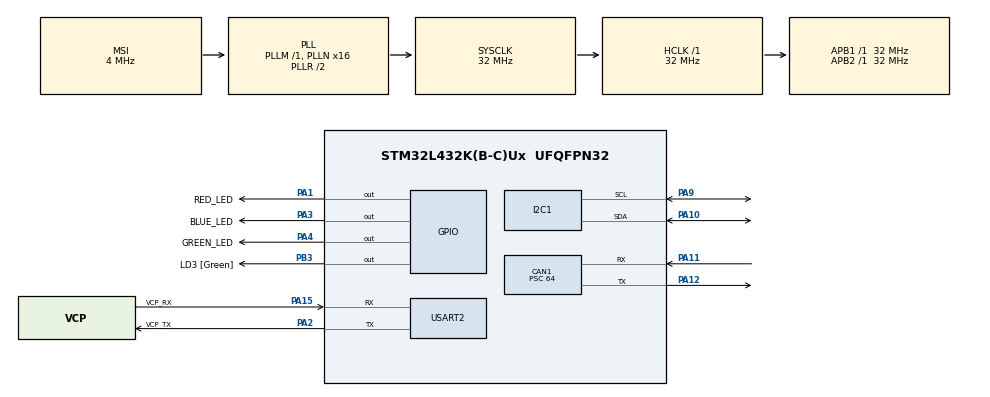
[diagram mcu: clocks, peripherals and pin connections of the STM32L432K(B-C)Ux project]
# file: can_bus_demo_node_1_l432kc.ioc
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CAN1.BS1=CAN_BS1_2TQ
CAN1.BS2=CAN_BS2_2TQ
CAN1.CalculateBaudRate=100000
CAN1.CalculateTimeBit=10000
CAN1.CalculateTimeQuantum=2000.0
CAN1.NART=ENABLE
CAN1.Prescaler=64
I2C1.Timing=0x00707CBB
Mcu.Family=STM32L4
Mcu.Name=STM32L432K(B-C)Ux
Mcu.Package=UFQFPN32
NVIC.CAN1_RX0_IRQn=true\:0\:0\:false\:false\:true\:true\:true\:true
NVIC.PriorityGroup=NVIC_PRIORITYGROUP_4
PA0.GPIO_Label=MCO [High speed clock in]
PA0.Mode=HSE-External-Clock-Source-for-LittleOrca
PA0.Signal=RCC_CK_IN
PA1.GPIO_Label=RED_LED
PA1.Signal=GPIO_Output
PA10.Mode=I2C
PA10.Signal=I2C1_SDA
PA11.Mode=CAN_Activate
PA11.Signal=CAN1_RX
PA12.Mode=CAN_Activate
PA12.Signal=CAN1_TX
PA13\ (JTMS-SWDIO).GPIO_Label=SWDIO
PA13\ (JTMS-SWDIO).Mode=Serial_Wire
PA13\ (JTMS-SWDIO).Signal=SYS_JTMS-SWDIO
PA14\ (JTCK-SWCLK).GPIO_Label=SWCLK
PA14\ (JTCK-SWCLK).Mode=Serial_Wire
PA14\ (JTCK-SWCLK).Signal=SYS_JTCK-SWCLK
PA15\ (JTDI).GPIO_Label=VCP_RX
PA15\ (JTDI).Mode=Asynchronous
PA15\ (JTDI).Signal=USART2_RX
PA2.GPIO_Label=VCP_TX
PA2.Mode=Asynchronous
PA2.Signal=USART2_TX
PA3.GPIO_Label=BLUE_LED
PA3.Signal=GPIO_Output
PA4.GPIO_Label=GREEN_LED
PA4.Signal=GPIO_Output
PA9.Mode=I2C
PA9.Signal=I2C1_SCL
PB3\ (JTDO-TRACESWO).GPIO_Label=LD3 [Green]
PB3\ (JTDO-TRACESWO).Signal=GPIO_Output
PC14-OSC32_IN\ (PC14).Mode=LSE-External-Oscillator
PC14-OSC32_IN\ (PC14).Signal=RCC_OSC32_IN
PC15-OSC32_OUT\ (PC15).Mode=LSE-External-Oscillator
PC15-OSC32_OUT\ (PC15).Signal=RCC_OSC32_OUT
ProjectManager.HeapSize=0x200
ProjectManager.StackSize=0x400
ProjectManager.TargetToolchain=STM32CubeIDE
RCC.AHBFreq_Value=32000000
RCC.APB1Freq_Value=32000000
RCC.APB1TimFreq_Value=32000000
RCC.APB2Freq_Value=32000000
RCC.APB2TimFreq_Value=32000000
RCC.CortexFreq_Value=32000000
RCC.HCLKFreq_Value=32000000
RCC.HSE_VALUE=8000000
RCC.HSI16_VALUE=16000000
RCC.HSI48_VALUE=48000000
RCC.HSI_VALUE=16000000
RCC.MSI_VALUE=4000000
RCC.PLLMUL=RCC_PLLMUL_4
RCC.PLLN=16
RCC.SYSCLKFreq_VALUE=32000000
RCC.SYSCLKSource=RCC_SYSCLKSOURCE_PLLCLK
RCC.VCOOutputFreq_Value=64000000
RTC.Format=RTC_FORMAT_BIN
USART2.VirtualMode-Asynchronous=VM_ASYNC
VP_RTC_VS_RTC_Activate.Mode=RTC_Enabled
VP_RTC_VS_RTC_Calendar.Mode=RTC_Calendar
board=NUCLEO-L432KC

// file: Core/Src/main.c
/* USER CODE BEGIN Header */
/**
 ******************************************************************************
 * @file           : main.c
 * @brief          : Main program body
 ******************************************************************************
 * @attention
 *
 * Copyright (c) 2023 STMicroelectronics.
 * All rights reserved.
 *
 * This software is licensed under terms that can be found in the LICENSE file
 * in the root directory of this software component.
 * If no LICENSE file comes with this software, it is provided AS-IS.
 *
 ******************************************************************************
 */
/* USER CODE END Header */
#include "main.h"
#include "can.h"
#include "i2c.h"
#include "rtc.h"
#include "usart.h"
#include "gpio.h"

/* USER CODE BEGIN Includes */
#include <stdio.h>
#include <stdlib.h>
#include <string.h>
#include "ssd1306.h"
/* USER CODE END Includes */

/* USER CODE BEGIN PD */

#define REFRESH_RATE 1000 // ms
#define CAN_TX_TIMEOUT 100 // ms
#define SET_RTC

/* USER CODE END PD */

/* USER CODE BEGIN PV */
RTC_TimeTypeDef timeNow;
RTC_DateTypeDef dateNow;
uint32_t softTimerOLED;
char lcd_line[32];
const char *day_of_week[] =
{ "Monday", "Tuesday", "Wednesday", "Thursday", "Friday", "Saturday", "Sunday" };

CAN_TxHeaderTypeDef txHeader;
uint8_t txData[8];
uint32_t txMailbox;
uint16_t txTimeoutCounter;

CAN_RxHeaderTypeDef rxHeader;
uint8_t rxData[8];
uint8_t canDatacheckTemperature = 0;
uint8_t canDatacheckPressure = 0;

float bmpPressure, bmpTemperature;
/* USER CODE END PV */

void SystemClock_Config(void);
/* USER CODE BEGIN PFP */
void GetCompilationTime(RTC_TimeTypeDef *timePtr);
void GetCompilationDate(RTC_DateTypeDef *datePtr);
void CalculateDayOfWeek(RTC_DateTypeDef *datePtr);
void SendCanMessage(void);
/* USER CODE END PFP */

int main(void)
{

	/* MCU Configuration--------------------------------------------------------*/

	/* Reset of all peripherals, Initializes the Flash interface and the Systick. */
	HAL_Init();

	/* Configure the system clock */
	SystemClock_Config();

	/* Initialize all configured peripherals */
	MX_GPIO_Init();
	MX_USART2_UART_Init();
	MX_CAN1_Init();
	MX_I2C1_Init();
	MX_RTC_Init();
	/* USER CODE BEGIN 2 */

	ssd1306_Init();
	ssd1306_Fill(Black);
	ssd1306_UpdateScreen();
	HAL_GPIO_WritePin(RED_LED_GPIO_Port, RED_LED_Pin, GPIO_PIN_RESET);

#ifdef SET_RTC
	GetCompilationDate(&dateNow);
	CalculateDayOfWeek(&dateNow);
	HAL_RTC_SetDate(&hrtc, &dateNow, RTC_FORMAT_BIN);
	GetCompilationTime(&timeNow);
	HAL_RTC_SetTime(&hrtc, &timeNow, RTC_FORMAT_BIN);
#endif

	HAL_CAN_Start(&hcan1);

	txHeader.IDE = CAN_ID_STD;
	txHeader.RTR = CAN_RTR_DATA; // https://www.kvaser.com/can-protocol-tutorial/
	txHeader.TransmitGlobalTime = DISABLE;

	HAL_CAN_ActivateNotification(&hcan1, CAN_IT_RX_FIFO0_MSG_PENDING);

	/* USER CODE END 2 */

	/* Infinite loop */
	/* USER CODE BEGIN WHILE */
	softTimerOLED = HAL_GetTick();
	while (1)
	{

		if (1 == canDatacheckTemperature)
		{
			canDatacheckTemperature = 0;
			ssd1306_SetCursor(2, 45);
			sprintf(lcd_line, "RX FIFO0: %.0f deg. C", bmpTemperature);
			ssd1306_WriteString(lcd_line, Font_6x8, White);
			ssd1306_UpdateScreen();
		}

		if (1 == canDatacheckPressure)
		{
			canDatacheckPressure = 0;
			ssd1306_SetCursor(2, 55);
			sprintf(lcd_line, "RX FIFO0: %.0f hPa", bmpPressure);
			ssd1306_WriteString(lcd_line, Font_6x8, White);
			ssd1306_UpdateScreen();
		}

		if ((HAL_GetTick() - softTimerOLED) > REFRESH_RATE)
		{
			softTimerOLED = HAL_GetTick();
			HAL_RTC_GetTime(&hrtc, &timeNow, RTC_FORMAT_BIN);
			HAL_RTC_GetDate(&hrtc, &dateNow, RTC_FORMAT_BIN);

			ssd1306_SetCursor(2, 5);
			sprintf(lcd_line, "TX: %02d:%02d:%02d", timeNow.Hours,
					timeNow.Minutes, timeNow.Seconds);
			ssd1306_WriteString(lcd_line, Font_6x8, White);
			ssd1306_SetCursor(2, 15);
			sprintf(lcd_line, "TX: %02d.%02d.%04d", dateNow.Date, dateNow.Month,
					(2000 + dateNow.Year));
			ssd1306_WriteString(lcd_line, Font_6x8, White);
			ssd1306_SetCursor(2, 25);
			sprintf(lcd_line, "TX: %s", day_of_week[dateNow.WeekDay - 1]);
			ssd1306_WriteString(lcd_line, Font_6x8, White);
			ssd1306_UpdateScreen();

			// Time
			txHeader.DLC = 3;  // data length
			txHeader.StdId = 0x101;  // ID of the message/frame
			txData[0] = timeNow.Hours;
			txData[1] = timeNow.Minutes;
			txData[2] = timeNow.Seconds;
			SendCanMessage();

			// Date
			txHeader.DLC = 4;  // data length
			txHeader.StdId = 0x102;  // ID of the message/frame
			txData[0] = dateNow.Date;
			txData[1] = dateNow.Month;
			txData[2] = dateNow.Year;
			txData[3] = dateNow.WeekDay;
			SendCanMessage();

		}
		/* USER CODE END WHILE */

	}
}

void SystemClock_Config(void)
{
	RCC_OscInitTypeDef RCC_OscInitStruct =
	{ 0 };
	RCC_ClkInitTypeDef RCC_ClkInitStruct =
	{ 0 };

	/** Configure the main internal regulator output voltage
	 */
	if (HAL_PWREx_ControlVoltageScaling(PWR_REGULATOR_VOLTAGE_SCALE1) != HAL_OK)
	{
		Error_Handler();
	}

	/** Configure LSE Drive Capability
	 */
	HAL_PWR_EnableBkUpAccess();
	__HAL_RCC_LSEDRIVE_CONFIG(RCC_LSEDRIVE_LOW);

	/** Initializes the RCC Oscillators according to the specified parameters
	 * in the RCC_OscInitTypeDef structure.
	 */
	RCC_OscInitStruct.OscillatorType = RCC_OSCILLATORTYPE_LSI
			| RCC_OSCILLATORTYPE_LSE | RCC_OSCILLATORTYPE_MSI;
	RCC_OscInitStruct.LSEState = RCC_LSE_ON;
	RCC_OscInitStruct.LSIState = RCC_LSI_ON;
	RCC_OscInitStruct.MSIState = RCC_MSI_ON;
	RCC_OscInitStruct.MSICalibrationValue = 0;
	RCC_OscInitStruct.MSIClockRange = RCC_MSIRANGE_6;
	RCC_OscInitStruct.PLL.PLLState = RCC_PLL_ON;
	RCC_OscInitStruct.PLL.PLLSource = RCC_PLLSOURCE_MSI;
	RCC_OscInitStruct.PLL.PLLM = 1;
	RCC_OscInitStruct.PLL.PLLN = 16;
	RCC_OscInitStruct.PLL.PLLP = RCC_PLLP_DIV7;
	RCC_OscInitStruct.PLL.PLLQ = RCC_PLLQ_DIV2;
	RCC_OscInitStruct.PLL.PLLR = RCC_PLLR_DIV2;
	if (HAL_RCC_OscConfig(&RCC_OscInitStruct) != HAL_OK)
	{
		Error_Handler();
	}

	/** Initializes the CPU, AHB and APB buses clocks
	 */
	RCC_ClkInitStruct.ClockType = RCC_CLOCKTYPE_HCLK | RCC_CLOCKTYPE_SYSCLK
			| RCC_CLOCKTYPE_PCLK1 | RCC_CLOCKTYPE_PCLK2;
	RCC_ClkInitStruct.SYSCLKSource = RCC_SYSCLKSOURCE_PLLCLK;
	RCC_ClkInitStruct.AHBCLKDivider = RCC_SYSCLK_DIV1;
	RCC_ClkInitStruct.APB1CLKDivider = RCC_HCLK_DIV1;
	RCC_ClkInitStruct.APB2CLKDivider = RCC_HCLK_DIV1;

	if (HAL_RCC_ClockConfig(&RCC_ClkInitStruct, FLASH_LATENCY_1) != HAL_OK)
	{
		Error_Handler();
	}

	/** Enable MSI Auto calibration
	 */
	HAL_RCCEx_EnableMSIPLLMode();
}

/* USER CODE BEGIN 4 */
void HAL_CAN_RxFifo0MsgPendingCallback(CAN_HandleTypeDef *hcan)
{
	HAL_CAN_GetRxMessage(hcan, CAN_RX_FIFO0, &rxHeader, rxData);
	if ((rxHeader.StdId == 0x103) && (rxHeader.DLC == 1))
	{
		canDatacheckTemperature = 1;
		bmpTemperature = rxData[0];
		HAL_GPIO_TogglePin(BLUE_LED_GPIO_Port, BLUE_LED_Pin);
	}
	else if ((rxHeader.StdId == 0x107) && (rxHeader.DLC == 2))
	{
		canDatacheckPressure = 1;
		bmpPressure = (((uint16_t) rxData[0]) << 8) | ((uint16_t) rxData[1]);
		HAL_GPIO_TogglePin(GREEN_LED_GPIO_Port, GREEN_LED_Pin);
	}
}

void GetCompilationTime(RTC_TimeTypeDef *timePtr)
{
	char temp[] = __TIME__;

	timePtr->Seconds = atoi(temp + 6);
	*(temp + 5) = 0;
	timePtr->Minutes = atoi(temp + 3);
	*(temp + 2) = 0;
	timePtr->Hours = atoi(temp);
}

void GetCompilationDate(RTC_DateTypeDef *datePtr)
{
	const char *months[] =
	{ "Jan", "Feb", "Mar", "Apr", "May", "Jun", "Jul", "Aug", "Sep", "Oct",
			"Nov", "Dec" };
	char temp[] = __DATE__;
	uint8_t i;

	datePtr->Year = atoi(temp + 9);
	*(temp + 6) = 0;
	datePtr->Date = atoi(temp + 4);
	*(temp + 3) = 0;
	for (i = 0; i < 12; i++)
	{
		if (!strcmp(temp, months[i]))
		{
			datePtr->Month = i + 1;
			return;
		}
	}
}

// https://www.geeksforgeeks.org/find-day-of-the-week-for-a-given-date/
void CalculateDayOfWeek(RTC_DateTypeDef *datePtr)
{
	const int16_t t[] =
	{ 0, 3, 2, 5, 0, 3, 5, 1, 4, 6, 2, 4 };
	int16_t y, m, d;
	m = datePtr->Month;
	y = (datePtr->Year) + 2000 - (m < 3);
	d = datePtr->Date;
	datePtr->WeekDay = (y + y / 4 - y / 100 + y / 400 + t[m - 1] + d) % 7;
	if (datePtr->WeekDay == 0)
	{
		datePtr->WeekDay = 7;
	}
}

void SendCanMessage(void)
{
	if (HAL_CAN_AddTxMessage(&hcan1, &txHeader, txData, &txMailbox) != HAL_OK)
	{
		Error_Handler();
	}
	txTimeoutCounter = 0;
	while ((HAL_CAN_IsTxMessagePending(&hcan1, txMailbox))
			&& (txTimeoutCounter < CAN_TX_TIMEOUT))
	{
		//				__NOP();
		txTimeoutCounter++;
		HAL_Delay(1);
	}
	if (txTimeoutCounter == CAN_TX_TIMEOUT)
	{
		Error_Handler();
	}
}
/* USER CODE END 4 */

void Error_Handler(void)
{
	/* USER CODE BEGIN Error_Handler_Debug */
	/* User can add his own implementation to report the HAL error return state */
	__disable_irq();
	HAL_GPIO_WritePin(RED_LED_GPIO_Port, RED_LED_Pin, GPIO_PIN_SET);
	while (1)
	{
	}
	/* USER CODE END Error_Handler_Debug */
}
